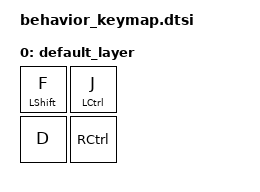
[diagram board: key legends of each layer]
#include <dt-bindings/zmk/keys.h>
#include <behaviors.dtsi>
#include <dt-bindings/zmk/kscan_mock.h>

/ {
	behaviors {
		ht_bal: behavior_hold_tap_balanced {
			compatible = "zmk,behavior-hold-tap";
			label = "HOLD_TAP_BALANCED";
			#binding-cells = <2>;
			flavor = "balanced";
			tapping-term-ms = <300>;
			quick-tap-ms = <200>;
			bindings = <&kp>, <&kp>;
		};
	};

	keymap {
		compatible = "zmk,keymap";
		label ="Default keymap";

		default_layer {
			bindings = <
				&ht_bal LEFT_SHIFT F &ht_bal LEFT_CONTROL J
				&kp D &kp RIGHT_CONTROL>;
		};
	};
};
